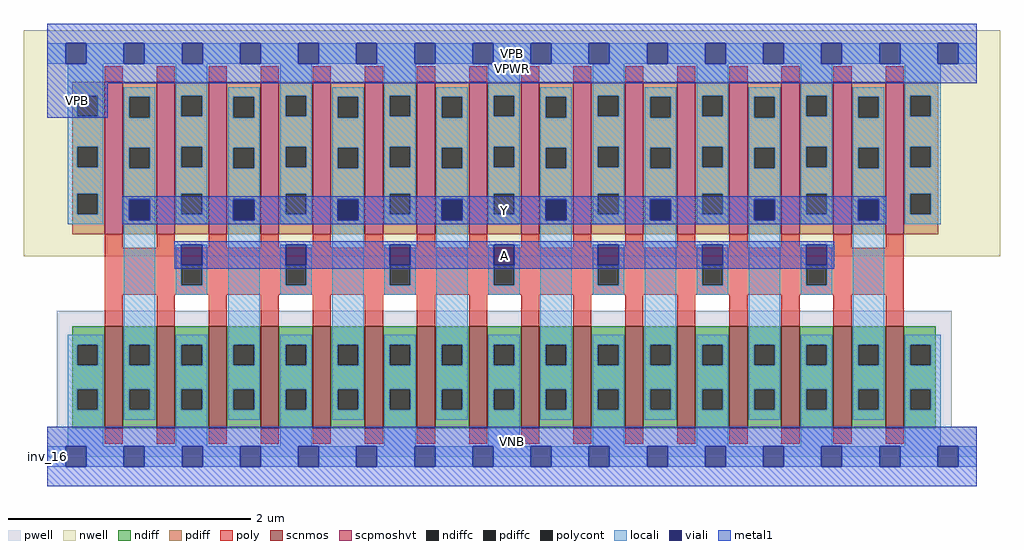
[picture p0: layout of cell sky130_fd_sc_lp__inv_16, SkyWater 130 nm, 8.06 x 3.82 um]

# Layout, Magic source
magic
tech sky130A
magscale 1 2
<< nwell >>
rect -38 331 1574 704
<< pwell >>
rect 16 49 1494 241
rect 0 0 1536 49
<< scnmos >>
rect 95 47 125 215
rect 181 47 211 215
rect 267 47 297 215
rect 353 47 383 215
rect 439 47 469 215
rect 525 47 555 215
rect 611 47 641 215
rect 697 47 727 215
rect 783 47 813 215
rect 869 47 899 215
rect 955 47 985 215
rect 1041 47 1071 215
rect 1127 47 1157 215
rect 1213 47 1243 215
rect 1299 47 1329 215
rect 1385 47 1415 215
<< scpmoshvt >>
rect 95 367 125 619
rect 181 367 211 619
rect 267 367 297 619
rect 353 367 383 619
rect 439 367 469 619
rect 525 367 555 619
rect 611 367 641 619
rect 697 367 727 619
rect 783 367 813 619
rect 869 367 899 619
rect 955 367 985 619
rect 1041 367 1071 619
rect 1127 367 1157 619
rect 1213 367 1243 619
rect 1299 367 1329 619
rect 1385 367 1415 619
<< ndiff >>
rect 42 185 95 215
rect 42 151 50 185
rect 84 151 95 185
rect 42 111 95 151
rect 42 77 50 111
rect 84 77 95 111
rect 42 47 95 77
rect 125 185 181 215
rect 125 151 136 185
rect 170 151 181 185
rect 125 111 181 151
rect 125 77 136 111
rect 170 77 181 111
rect 125 47 181 77
rect 211 185 267 215
rect 211 151 222 185
rect 256 151 267 185
rect 211 111 267 151
rect 211 77 222 111
rect 256 77 267 111
rect 211 47 267 77
rect 297 185 353 215
rect 297 151 308 185
rect 342 151 353 185
rect 297 111 353 151
rect 297 77 308 111
rect 342 77 353 111
rect 297 47 353 77
rect 383 185 439 215
rect 383 151 394 185
rect 428 151 439 185
rect 383 111 439 151
rect 383 77 394 111
rect 428 77 439 111
rect 383 47 439 77
rect 469 185 525 215
rect 469 151 480 185
rect 514 151 525 185
rect 469 111 525 151
rect 469 77 480 111
rect 514 77 525 111
rect 469 47 525 77
rect 555 185 611 215
rect 555 151 566 185
rect 600 151 611 185
rect 555 111 611 151
rect 555 77 566 111
rect 600 77 611 111
rect 555 47 611 77
rect 641 185 697 215
rect 641 151 652 185
rect 686 151 697 185
rect 641 111 697 151
rect 641 77 652 111
rect 686 77 697 111
rect 641 47 697 77
rect 727 185 783 215
rect 727 151 738 185
rect 772 151 783 185
rect 727 111 783 151
rect 727 77 738 111
rect 772 77 783 111
rect 727 47 783 77
rect 813 185 869 215
rect 813 151 824 185
rect 858 151 869 185
rect 813 111 869 151
rect 813 77 824 111
rect 858 77 869 111
rect 813 47 869 77
rect 899 185 955 215
rect 899 151 910 185
rect 944 151 955 185
rect 899 111 955 151
rect 899 77 910 111
rect 944 77 955 111
rect 899 47 955 77
rect 985 185 1041 215
rect 985 151 996 185
rect 1030 151 1041 185
rect 985 111 1041 151
rect 985 77 996 111
rect 1030 77 1041 111
rect 985 47 1041 77
rect 1071 185 1127 215
rect 1071 151 1082 185
rect 1116 151 1127 185
rect 1071 111 1127 151
rect 1071 77 1082 111
rect 1116 77 1127 111
rect 1071 47 1127 77
rect 1157 185 1213 215
rect 1157 151 1168 185
rect 1202 151 1213 185
rect 1157 111 1213 151
rect 1157 77 1168 111
rect 1202 77 1213 111
rect 1157 47 1213 77
rect 1243 185 1299 215
rect 1243 151 1254 185
rect 1288 151 1299 185
rect 1243 111 1299 151
rect 1243 77 1254 111
rect 1288 77 1299 111
rect 1243 47 1299 77
rect 1329 185 1385 215
rect 1329 151 1340 185
rect 1374 151 1385 185
rect 1329 111 1385 151
rect 1329 77 1340 111
rect 1374 77 1385 111
rect 1329 47 1385 77
rect 1415 185 1468 215
rect 1415 151 1426 185
rect 1460 151 1468 185
rect 1415 111 1468 151
rect 1415 77 1426 111
rect 1460 77 1468 111
rect 1415 47 1468 77
<< pdiff >>
rect 42 596 95 619
rect 42 562 50 596
rect 84 562 95 596
rect 42 512 95 562
rect 42 478 50 512
rect 84 478 95 512
rect 42 434 95 478
rect 42 400 50 434
rect 84 400 95 434
rect 42 367 95 400
rect 125 594 181 619
rect 125 560 136 594
rect 170 560 181 594
rect 125 510 181 560
rect 125 476 136 510
rect 170 476 181 510
rect 125 426 181 476
rect 125 392 136 426
rect 170 392 181 426
rect 125 367 181 392
rect 211 596 267 619
rect 211 562 222 596
rect 256 562 267 596
rect 211 512 267 562
rect 211 478 222 512
rect 256 478 267 512
rect 211 434 267 478
rect 211 400 222 434
rect 256 400 267 434
rect 211 367 267 400
rect 297 594 353 619
rect 297 560 308 594
rect 342 560 353 594
rect 297 510 353 560
rect 297 476 308 510
rect 342 476 353 510
rect 297 426 353 476
rect 297 392 308 426
rect 342 392 353 426
rect 297 367 353 392
rect 383 596 439 619
rect 383 562 394 596
rect 428 562 439 596
rect 383 512 439 562
rect 383 478 394 512
rect 428 478 439 512
rect 383 434 439 478
rect 383 400 394 434
rect 428 400 439 434
rect 383 367 439 400
rect 469 594 525 619
rect 469 560 480 594
rect 514 560 525 594
rect 469 510 525 560
rect 469 476 480 510
rect 514 476 525 510
rect 469 426 525 476
rect 469 392 480 426
rect 514 392 525 426
rect 469 367 525 392
rect 555 596 611 619
rect 555 562 566 596
rect 600 562 611 596
rect 555 512 611 562
rect 555 478 566 512
rect 600 478 611 512
rect 555 434 611 478
rect 555 400 566 434
rect 600 400 611 434
rect 555 367 611 400
rect 641 594 697 619
rect 641 560 652 594
rect 686 560 697 594
rect 641 510 697 560
rect 641 476 652 510
rect 686 476 697 510
rect 641 426 697 476
rect 641 392 652 426
rect 686 392 697 426
rect 641 367 697 392
rect 727 596 783 619
rect 727 562 738 596
rect 772 562 783 596
rect 727 512 783 562
rect 727 478 738 512
rect 772 478 783 512
rect 727 434 783 478
rect 727 400 738 434
rect 772 400 783 434
rect 727 367 783 400
rect 813 594 869 619
rect 813 560 824 594
rect 858 560 869 594
rect 813 510 869 560
rect 813 476 824 510
rect 858 476 869 510
rect 813 426 869 476
rect 813 392 824 426
rect 858 392 869 426
rect 813 367 869 392
rect 899 596 955 619
rect 899 562 910 596
rect 944 562 955 596
rect 899 512 955 562
rect 899 478 910 512
rect 944 478 955 512
rect 899 434 955 478
rect 899 400 910 434
rect 944 400 955 434
rect 899 367 955 400
rect 985 594 1041 619
rect 985 560 996 594
rect 1030 560 1041 594
rect 985 510 1041 560
rect 985 476 996 510
rect 1030 476 1041 510
rect 985 426 1041 476
rect 985 392 996 426
rect 1030 392 1041 426
rect 985 367 1041 392
rect 1071 596 1127 619
rect 1071 562 1082 596
rect 1116 562 1127 596
rect 1071 512 1127 562
rect 1071 478 1082 512
rect 1116 478 1127 512
rect 1071 434 1127 478
rect 1071 400 1082 434
rect 1116 400 1127 434
rect 1071 367 1127 400
rect 1157 594 1213 619
rect 1157 560 1168 594
rect 1202 560 1213 594
rect 1157 510 1213 560
rect 1157 476 1168 510
rect 1202 476 1213 510
rect 1157 426 1213 476
rect 1157 392 1168 426
rect 1202 392 1213 426
rect 1157 367 1213 392
rect 1243 596 1299 619
rect 1243 562 1254 596
rect 1288 562 1299 596
rect 1243 512 1299 562
rect 1243 478 1254 512
rect 1288 478 1299 512
rect 1243 434 1299 478
rect 1243 400 1254 434
rect 1288 400 1299 434
rect 1243 367 1299 400
rect 1329 594 1385 619
rect 1329 560 1340 594
rect 1374 560 1385 594
rect 1329 510 1385 560
rect 1329 476 1340 510
rect 1374 476 1385 510
rect 1329 426 1385 476
rect 1329 392 1340 426
rect 1374 392 1385 426
rect 1329 367 1385 392
rect 1415 596 1472 619
rect 1415 562 1426 596
rect 1460 562 1472 596
rect 1415 512 1472 562
rect 1415 478 1426 512
rect 1460 478 1472 512
rect 1415 434 1472 478
rect 1415 400 1426 434
rect 1460 400 1472 434
rect 1415 367 1472 400
<< ndiffc >>
rect 50 151 84 185
rect 50 77 84 111
rect 136 151 170 185
rect 136 77 170 111
rect 222 151 256 185
rect 222 77 256 111
rect 308 151 342 185
rect 308 77 342 111
rect 394 151 428 185
rect 394 77 428 111
rect 480 151 514 185
rect 480 77 514 111
rect 566 151 600 185
rect 566 77 600 111
rect 652 151 686 185
rect 652 77 686 111
rect 738 151 772 185
rect 738 77 772 111
rect 824 151 858 185
rect 824 77 858 111
rect 910 151 944 185
rect 910 77 944 111
rect 996 151 1030 185
rect 996 77 1030 111
rect 1082 151 1116 185
rect 1082 77 1116 111
rect 1168 151 1202 185
rect 1168 77 1202 111
rect 1254 151 1288 185
rect 1254 77 1288 111
rect 1340 151 1374 185
rect 1340 77 1374 111
rect 1426 151 1460 185
rect 1426 77 1460 111
<< pdiffc >>
rect 50 562 84 596
rect 50 478 84 512
rect 50 400 84 434
rect 136 560 170 594
rect 136 476 170 510
rect 136 392 170 426
rect 222 562 256 596
rect 222 478 256 512
rect 222 400 256 434
rect 308 560 342 594
rect 308 476 342 510
rect 308 392 342 426
rect 394 562 428 596
rect 394 478 428 512
rect 394 400 428 434
rect 480 560 514 594
rect 480 476 514 510
rect 480 392 514 426
rect 566 562 600 596
rect 566 478 600 512
rect 566 400 600 434
rect 652 560 686 594
rect 652 476 686 510
rect 652 392 686 426
rect 738 562 772 596
rect 738 478 772 512
rect 738 400 772 434
rect 824 560 858 594
rect 824 476 858 510
rect 824 392 858 426
rect 910 562 944 596
rect 910 478 944 512
rect 910 400 944 434
rect 996 560 1030 594
rect 996 476 1030 510
rect 996 392 1030 426
rect 1082 562 1116 596
rect 1082 478 1116 512
rect 1082 400 1116 434
rect 1168 560 1202 594
rect 1168 476 1202 510
rect 1168 392 1202 426
rect 1254 562 1288 596
rect 1254 478 1288 512
rect 1254 400 1288 434
rect 1340 560 1374 594
rect 1340 476 1374 510
rect 1340 392 1374 426
rect 1426 562 1460 596
rect 1426 478 1460 512
rect 1426 400 1460 434
<< poly >>
rect 95 619 125 645
rect 181 619 211 645
rect 267 619 297 645
rect 353 619 383 645
rect 439 619 469 645
rect 525 619 555 645
rect 611 619 641 645
rect 697 619 727 645
rect 783 619 813 645
rect 869 619 899 645
rect 955 619 985 645
rect 1041 619 1071 645
rect 1127 619 1157 645
rect 1213 619 1243 645
rect 1299 619 1329 645
rect 1385 619 1415 645
rect 95 345 125 367
rect 181 345 211 367
rect 267 345 297 367
rect 353 345 383 367
rect 439 345 469 367
rect 525 345 555 367
rect 611 345 641 367
rect 697 345 727 367
rect 783 345 813 367
rect 869 345 899 367
rect 955 345 985 367
rect 1041 345 1071 367
rect 1127 345 1157 367
rect 1213 345 1243 367
rect 1299 345 1329 367
rect 1385 345 1415 367
rect 95 317 1415 345
rect 95 283 222 317
rect 256 283 394 317
rect 428 283 566 317
rect 600 283 738 317
rect 772 283 910 317
rect 944 283 1082 317
rect 1116 283 1254 317
rect 1288 283 1415 317
rect 95 267 1415 283
rect 95 215 125 267
rect 181 215 211 267
rect 267 215 297 267
rect 353 215 383 267
rect 439 215 469 267
rect 525 215 555 267
rect 611 215 641 267
rect 697 215 727 267
rect 783 215 813 267
rect 869 215 899 267
rect 955 215 985 267
rect 1041 215 1071 267
rect 1127 215 1157 267
rect 1213 215 1243 267
rect 1299 215 1329 267
rect 1385 215 1415 267
rect 95 21 125 47
rect 181 21 211 47
rect 267 21 297 47
rect 353 21 383 47
rect 439 21 469 47
rect 525 21 555 47
rect 611 21 641 47
rect 697 21 727 47
rect 783 21 813 47
rect 869 21 899 47
rect 955 21 985 47
rect 1041 21 1071 47
rect 1127 21 1157 47
rect 1213 21 1243 47
rect 1299 21 1329 47
rect 1385 21 1415 47
<< polycont >>
rect 222 283 256 317
rect 394 283 428 317
rect 566 283 600 317
rect 738 283 772 317
rect 910 283 944 317
rect 1082 283 1116 317
rect 1254 283 1288 317
<< locali >>
rect 0 649 31 683
rect 65 649 127 683
rect 161 649 223 683
rect 257 649 319 683
rect 353 649 415 683
rect 449 649 511 683
rect 545 649 607 683
rect 641 649 703 683
rect 737 649 799 683
rect 833 649 895 683
rect 929 649 991 683
rect 1025 649 1087 683
rect 1121 649 1183 683
rect 1217 649 1279 683
rect 1313 649 1375 683
rect 1409 649 1471 683
rect 1505 649 1536 683
rect 34 596 93 649
rect 34 562 50 596
rect 84 562 93 596
rect 34 512 93 562
rect 34 478 50 512
rect 84 478 93 512
rect 34 434 93 478
rect 34 400 50 434
rect 84 400 93 434
rect 34 384 93 400
rect 127 594 179 610
rect 127 560 136 594
rect 170 560 179 594
rect 127 510 179 560
rect 127 476 136 510
rect 170 476 179 510
rect 127 426 179 476
rect 127 390 136 426
rect 170 390 179 426
rect 34 185 93 201
rect 34 151 50 185
rect 84 151 93 185
rect 34 111 93 151
rect 34 77 50 111
rect 84 77 93 111
rect 34 17 93 77
rect 127 185 179 390
rect 213 596 265 649
rect 213 562 222 596
rect 256 562 265 596
rect 213 512 265 562
rect 213 478 222 512
rect 256 478 265 512
rect 213 434 265 478
rect 213 400 222 434
rect 256 400 265 434
rect 213 384 265 400
rect 299 594 351 610
rect 299 560 308 594
rect 342 560 351 594
rect 299 510 351 560
rect 299 476 308 510
rect 342 476 351 510
rect 299 426 351 476
rect 299 390 308 426
rect 342 390 351 426
rect 213 283 222 350
rect 256 283 265 350
rect 213 267 265 283
rect 127 151 136 185
rect 170 151 179 185
rect 127 111 179 151
rect 127 77 136 111
rect 170 77 179 111
rect 127 61 179 77
rect 213 185 265 201
rect 213 151 222 185
rect 256 151 265 185
rect 213 111 265 151
rect 213 77 222 111
rect 256 77 265 111
rect 213 17 265 77
rect 299 185 351 390
rect 385 596 437 649
rect 385 562 394 596
rect 428 562 437 596
rect 385 512 437 562
rect 385 478 394 512
rect 428 478 437 512
rect 385 434 437 478
rect 385 400 394 434
rect 428 400 437 434
rect 385 384 437 400
rect 471 594 523 610
rect 471 560 480 594
rect 514 560 523 594
rect 471 510 523 560
rect 471 476 480 510
rect 514 476 523 510
rect 471 426 523 476
rect 471 390 480 426
rect 514 390 523 426
rect 385 283 394 350
rect 428 283 437 350
rect 385 267 437 283
rect 299 151 308 185
rect 342 151 351 185
rect 299 111 351 151
rect 299 77 308 111
rect 342 77 351 111
rect 299 61 351 77
rect 385 185 437 201
rect 385 151 394 185
rect 428 151 437 185
rect 385 111 437 151
rect 385 77 394 111
rect 428 77 437 111
rect 385 17 437 77
rect 471 185 523 390
rect 557 596 609 649
rect 557 562 566 596
rect 600 562 609 596
rect 557 512 609 562
rect 557 478 566 512
rect 600 478 609 512
rect 557 434 609 478
rect 557 400 566 434
rect 600 400 609 434
rect 557 384 609 400
rect 643 594 695 610
rect 643 560 652 594
rect 686 560 695 594
rect 643 510 695 560
rect 643 476 652 510
rect 686 476 695 510
rect 643 426 695 476
rect 643 390 652 426
rect 686 390 695 426
rect 557 283 566 350
rect 600 283 609 350
rect 557 267 609 283
rect 471 151 480 185
rect 514 151 523 185
rect 471 111 523 151
rect 471 77 480 111
rect 514 77 523 111
rect 471 61 523 77
rect 557 185 609 201
rect 557 151 566 185
rect 600 151 609 185
rect 557 111 609 151
rect 557 77 566 111
rect 600 77 609 111
rect 557 17 609 77
rect 643 185 695 390
rect 729 596 781 649
rect 729 562 738 596
rect 772 562 781 596
rect 729 512 781 562
rect 729 478 738 512
rect 772 478 781 512
rect 729 434 781 478
rect 729 400 738 434
rect 772 400 781 434
rect 729 384 781 400
rect 815 594 867 610
rect 815 560 824 594
rect 858 560 867 594
rect 815 510 867 560
rect 815 476 824 510
rect 858 476 867 510
rect 815 426 867 476
rect 815 390 824 426
rect 858 390 867 426
rect 729 283 738 350
rect 772 283 781 350
rect 729 267 781 283
rect 643 151 652 185
rect 686 151 695 185
rect 643 111 695 151
rect 643 77 652 111
rect 686 77 695 111
rect 643 61 695 77
rect 729 185 781 201
rect 729 151 738 185
rect 772 151 781 185
rect 729 111 781 151
rect 729 77 738 111
rect 772 77 781 111
rect 729 17 781 77
rect 815 185 867 390
rect 901 596 953 649
rect 901 562 910 596
rect 944 562 953 596
rect 901 512 953 562
rect 901 478 910 512
rect 944 478 953 512
rect 901 434 953 478
rect 901 400 910 434
rect 944 400 953 434
rect 901 384 953 400
rect 987 594 1039 610
rect 987 560 996 594
rect 1030 560 1039 594
rect 987 510 1039 560
rect 987 476 996 510
rect 1030 476 1039 510
rect 987 426 1039 476
rect 987 390 996 426
rect 1030 390 1039 426
rect 901 283 910 350
rect 944 283 953 350
rect 901 267 953 283
rect 815 151 824 185
rect 858 151 867 185
rect 815 111 867 151
rect 815 77 824 111
rect 858 77 867 111
rect 815 61 867 77
rect 901 185 953 201
rect 901 151 910 185
rect 944 151 953 185
rect 901 111 953 151
rect 901 77 910 111
rect 944 77 953 111
rect 901 17 953 77
rect 987 185 1039 390
rect 1073 596 1125 649
rect 1073 562 1082 596
rect 1116 562 1125 596
rect 1073 512 1125 562
rect 1073 478 1082 512
rect 1116 478 1125 512
rect 1073 434 1125 478
rect 1073 400 1082 434
rect 1116 400 1125 434
rect 1073 384 1125 400
rect 1159 594 1211 610
rect 1159 560 1168 594
rect 1202 560 1211 594
rect 1159 510 1211 560
rect 1159 476 1168 510
rect 1202 476 1211 510
rect 1159 426 1211 476
rect 1159 390 1168 426
rect 1202 390 1211 426
rect 1073 283 1082 350
rect 1116 283 1125 350
rect 1073 267 1125 283
rect 987 151 996 185
rect 1030 151 1039 185
rect 987 111 1039 151
rect 987 77 996 111
rect 1030 77 1039 111
rect 987 61 1039 77
rect 1073 185 1125 201
rect 1073 151 1082 185
rect 1116 151 1125 185
rect 1073 111 1125 151
rect 1073 77 1082 111
rect 1116 77 1125 111
rect 1073 17 1125 77
rect 1159 185 1211 390
rect 1245 596 1297 649
rect 1245 562 1254 596
rect 1288 562 1297 596
rect 1245 512 1297 562
rect 1245 478 1254 512
rect 1288 478 1297 512
rect 1245 434 1297 478
rect 1245 400 1254 434
rect 1288 400 1297 434
rect 1245 384 1297 400
rect 1331 594 1383 610
rect 1331 560 1340 594
rect 1374 560 1383 594
rect 1331 510 1383 560
rect 1331 476 1340 510
rect 1374 476 1383 510
rect 1331 426 1383 476
rect 1331 390 1340 426
rect 1374 390 1383 426
rect 1245 283 1254 350
rect 1288 283 1297 350
rect 1245 267 1297 283
rect 1159 151 1168 185
rect 1202 151 1211 185
rect 1159 111 1211 151
rect 1159 77 1168 111
rect 1202 77 1211 111
rect 1159 61 1211 77
rect 1245 185 1297 201
rect 1245 151 1254 185
rect 1288 151 1297 185
rect 1245 111 1297 151
rect 1245 77 1254 111
rect 1288 77 1297 111
rect 1245 17 1297 77
rect 1331 185 1383 390
rect 1417 596 1476 649
rect 1417 562 1426 596
rect 1460 562 1476 596
rect 1417 512 1476 562
rect 1417 478 1426 512
rect 1460 478 1476 512
rect 1417 434 1476 478
rect 1417 400 1426 434
rect 1460 400 1476 434
rect 1417 384 1476 400
rect 1331 151 1340 185
rect 1374 151 1383 185
rect 1331 111 1383 151
rect 1331 77 1340 111
rect 1374 77 1383 111
rect 1331 61 1383 77
rect 1417 185 1476 201
rect 1417 151 1426 185
rect 1460 151 1476 185
rect 1417 111 1476 151
rect 1417 77 1426 111
rect 1460 77 1476 111
rect 1417 17 1476 77
rect 0 -17 31 17
rect 65 -17 127 17
rect 161 -17 223 17
rect 257 -17 319 17
rect 353 -17 415 17
rect 449 -17 511 17
rect 545 -17 607 17
rect 641 -17 703 17
rect 737 -17 799 17
rect 833 -17 895 17
rect 929 -17 991 17
rect 1025 -17 1087 17
rect 1121 -17 1183 17
rect 1217 -17 1279 17
rect 1313 -17 1375 17
rect 1409 -17 1471 17
rect 1505 -17 1536 17
<< viali >>
rect 31 649 65 683
rect 127 649 161 683
rect 223 649 257 683
rect 319 649 353 683
rect 415 649 449 683
rect 511 649 545 683
rect 607 649 641 683
rect 703 649 737 683
rect 799 649 833 683
rect 895 649 929 683
rect 991 649 1025 683
rect 1087 649 1121 683
rect 1183 649 1217 683
rect 1279 649 1313 683
rect 1375 649 1409 683
rect 1471 649 1505 683
rect 136 392 170 424
rect 136 390 170 392
rect 308 392 342 424
rect 308 390 342 392
rect 222 317 256 350
rect 222 316 256 317
rect 480 392 514 424
rect 480 390 514 392
rect 394 317 428 350
rect 394 316 428 317
rect 652 392 686 424
rect 652 390 686 392
rect 566 317 600 350
rect 566 316 600 317
rect 824 392 858 424
rect 824 390 858 392
rect 738 317 772 350
rect 738 316 772 317
rect 996 392 1030 424
rect 996 390 1030 392
rect 910 317 944 350
rect 910 316 944 317
rect 1168 392 1202 424
rect 1168 390 1202 392
rect 1082 317 1116 350
rect 1082 316 1116 317
rect 1340 392 1374 424
rect 1340 390 1374 392
rect 1254 317 1288 350
rect 1254 316 1288 317
rect 31 -17 65 17
rect 127 -17 161 17
rect 223 -17 257 17
rect 319 -17 353 17
rect 415 -17 449 17
rect 511 -17 545 17
rect 607 -17 641 17
rect 703 -17 737 17
rect 799 -17 833 17
rect 895 -17 929 17
rect 991 -17 1025 17
rect 1087 -17 1121 17
rect 1183 -17 1217 17
rect 1279 -17 1313 17
rect 1375 -17 1409 17
rect 1471 -17 1505 17
<< metal1 >>
rect 0 683 1536 715
rect 0 649 31 683
rect 65 649 127 683
rect 161 649 223 683
rect 257 649 319 683
rect 353 649 415 683
rect 449 649 511 683
rect 545 649 607 683
rect 641 649 703 683
rect 737 649 799 683
rect 833 649 895 683
rect 929 649 991 683
rect 1025 649 1087 683
rect 1121 649 1183 683
rect 1217 649 1279 683
rect 1313 649 1375 683
rect 1409 649 1471 683
rect 1505 649 1536 683
rect 0 617 1536 649
rect 0 560 100 617
rect 124 424 1386 430
rect 124 390 136 424
rect 170 390 308 424
rect 342 390 480 424
rect 514 390 652 424
rect 686 390 824 424
rect 858 390 996 424
rect 1030 390 1168 424
rect 1202 390 1340 424
rect 1374 390 1386 424
rect 124 384 1386 390
rect 210 350 1300 356
rect 210 316 222 350
rect 256 316 394 350
rect 428 316 566 350
rect 600 316 738 350
rect 772 316 910 350
rect 944 316 1082 350
rect 1116 316 1254 350
rect 1288 316 1300 350
rect 210 310 1300 316
rect 0 17 1536 49
rect 0 -17 31 17
rect 65 -17 127 17
rect 161 -17 223 17
rect 257 -17 319 17
rect 353 -17 415 17
rect 449 -17 511 17
rect 545 -17 607 17
rect 641 -17 703 17
rect 737 -17 799 17
rect 833 -17 895 17
rect 929 -17 991 17
rect 1025 -17 1087 17
rect 1121 -17 1183 17
rect 1217 -17 1279 17
rect 1313 -17 1375 17
rect 1409 -17 1471 17
rect 1505 -17 1536 17
rect 0 -49 1536 -17
<< labels >>
flabel pwell s 0 0 1536 49 0 FreeSans 200 0 0 0 VNB
port 3 nsew ground bidirectional
rlabel comment s 0 0 0 0 4 inv_16
flabel metal1 s 0 617 1536 666 0 FreeSans 340 0 0 0 VPWR
port 5 nsew power bidirectional
flabel metal1 s 0 0 1536 49 0 FreeSans 340 0 0 0 VGND
port 2 nsew ground bidirectional
flabel metal1 s 124 384 1386 430 0 FreeSans 200 0 0 0 Y
port 6 nsew signal output
flabel metal1 s 210 310 1300 356 0 FreeSans 200 0 0 0 A
port 1 nsew signal input
rlabel metal1 s 0 617 1536 715 1 VPB
port 4 nsew power bidirectional
rlabel metal1 s 0 560 100 617 1 VPB
port 4 nsew power bidirectional
<< properties >>
string LEFsite unit
string LEFclass CORE
string FIXED_BBOX 0 0 1536 666
string GDS_FILE $PDKPATH/libs.ref/sky130_fd_sc_lp/gds/sky130_fd_sc_lp.gds
string LEFsymmetry X Y R90
string GDS_END 5455290
string GDS_START 5442082
<< end >>
